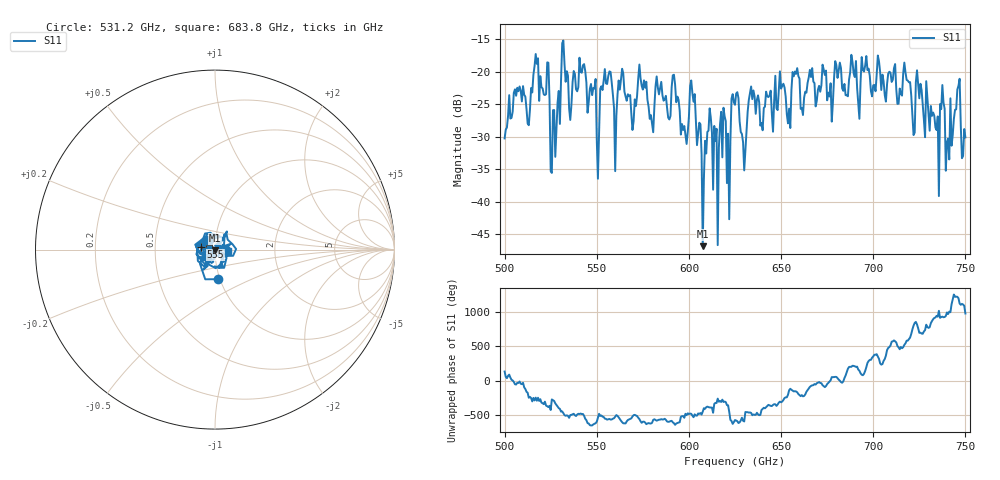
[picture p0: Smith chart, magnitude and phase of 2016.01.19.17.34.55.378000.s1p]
!Created with skrf (http://scikit-rf.org).
# GHz S RI R 50.0
!freq ReS11 ImS11
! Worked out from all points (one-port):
!   401 points, 500 GHz to 750 GHz, reference 50 ohm
!   lowest |S11| = -46.8 dB at 607.5 GHz (marker M1), VSWR 1.01, Z = 50 - j0.455 ohm
!   |S11| at or under -10 dB: start of sweep to end of sweep
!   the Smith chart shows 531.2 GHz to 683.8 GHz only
!   S11 on the Smith chart (normalised r, x): 531.2 GHz: 0.98, -0.33; 555 GHz: 0.85, +0.03; 683.8 GHz: 1.15, -0.02
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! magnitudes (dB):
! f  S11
! 500 GHz  -30.3
! 516.9 GHz  -17.3
! 523.1 GHz  -18.5
! 526.2 GHz  -25.9
! 531.2 GHz  -15.6
! 541.9 GHz  -20.1
! 551.2 GHz  -29.2
! 555 GHz  -21.8
! 560 GHz  -35.3
! 562.5 GHz  -22.7
! 593.8 GHz  -23.8
! 598.1 GHz  -29.7
! 601.9 GHz  -23.3
! 607.5 GHz  -46.8
! 611.2 GHz  -25.6
! 621.2 GHz  -29.5
! 625 GHz  -25.1
! 629.4 GHz  -30.8
! 633.8 GHz  -22.3
! 656.2 GHz  -20.0
! 683.8 GHz  -22.9
! 687.5 GHz  -20.1
! 718.8 GHz  -21.4
! 734.4 GHz  -29.0
! 737.5 GHz  -22.0
! 740 GHz  -30.9
! 745.6 GHz  -22.7
! 750 GHz  -30.1
